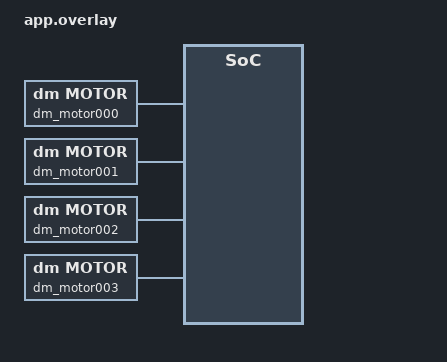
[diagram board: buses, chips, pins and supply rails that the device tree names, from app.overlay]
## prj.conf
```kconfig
# 达妙DM电机控制示例配置

CONFIG_MAIN_THREAD_PRIORITY=7
CONFIG_SYSTEM_WORKQUEUE_STACK_SIZE=4096

# 电机驱动支持
CONFIG_MOTOR=y
CONFIG_MOTOR_DM=y

# ARES USB 控制协议
CONFIG_ARES=y
CONFIG_ARES_COMM_LIB=y
CONFIG_DUAL_PROPOSE_PROTOCOL=y
CONFIG_USB_BULK_INTERFACE=y
CONFIG_NET_BUF=y
CONFIG_UDC_DRIVER_HIGH_SPEED_SUPPORT_ENABLED=n
CONFIG_USBD_MAX_SPEED_FULL=y

# CAN总线支持
CONFIG_CAN=y
CONFIG_CAN_INIT_PRIORITY=80

# PID控制器支持
CONFIG_PID=y

CONFIG_LOG=y
CONFIG_LOG_MODE_DEFERRED=y
CONFIG_LOG_BUFFER_SIZE=4096
CONFIG_CBPRINTF_FP_SUPPORT=y
CONFIG_UART_CONSOLE=y
```

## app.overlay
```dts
&cdc_acm_uart0 {
    status = "disabled";
};

&usart6 {
    status = "disabled";
};

/ {
    dm_motor000: dm_motor000 {
        compatible = "dm,motor";
        id = <1>;
        rx_id = <0x1A>;
        tx_id = <0x0A>;
        v_max = "785";
        p_max = "95.5";
        status = "okay";
        can_channel = <&can1>;
        controllers = <&mit>;
        capabilities = "mit";
        t_max = "5";
        freq = <1000>;
    };
    dm_motor001: dm_motor001 {
        compatible = "dm,motor";
        id = <2>;
        rx_id = <0x1B>;
        tx_id = <0x0B>;
        v_max = "785";
        p_max = "95.5";
        status = "okay";
        can_channel = <&can1>;
        controllers = <&mit>;
        capabilities = "mit";
        t_max = "5";
        freq = <1000>;
    };
    dm_motor002: dm_motor002 {
        compatible = "dm,motor";
        id = <3>;
        rx_id = <0x1C>;
        tx_id = <0x0C>;
        v_max = "785";
        p_max = "95.5";
        status = "okay";
        can_channel = <&can1>;
        controllers = <&mit>;
        capabilities = "mit";
        t_max = "5";
        freq = <1000>;
    };
    dm_motor003: dm_motor003 {
        compatible = "dm,motor";
        id = <4>;
        rx_id = <0x1D>;
        tx_id = <0x0D>;
        v_max = "785";
        p_max = "95.5";
        status = "okay";
        can_channel = <&can1>;
        controllers = <&mit>;
        capabilities = "mit";
        t_max = "5";
        freq = <1000>;
    };

    mit: mit {
        #controller-cells = <0>;
        compatible = "pid,mit";
        k_p = "5";
        k_i = "0.0";
        k_d = "1.5";
        offset = "1.2";
    };
};
```

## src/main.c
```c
#include <errno.h>
#include <stdbool.h>
#include <stdint.h>
#include <string.h>

#include <zephyr/kernel.h>
#include <zephyr/device.h>
#include <zephyr/drivers/can.h>
#include <zephyr/logging/log.h>
#include <zephyr/sys/util.h>
#include <zephyr/drivers/motor.h>
#include <zephyr/drivers/gpio.h>

#include <ares/ares_comm.h>
#include <ares/interface/usb/usb_bulk.h>
#include <ares/protocol/dual/dual_protocol.h>

#include "devices.h"

LOG_MODULE_REGISTER(lift_demo, LOG_LEVEL_INF);

#define CTRL_SYNC_ID 0x0303
#define CTRL_FLOAT_NUM 7
#define CTRL_BUTTON_MASK_NUM 3
#define CTRL_BUTTON_A_ID 3
#define CTRL_BUTTON_Y_ID 6

enum ctrl_data_index {
    CTRL_IDX_BUTTONS_0_15 = 0,
    CTRL_IDX_BUTTONS_16_31,
    CTRL_IDX_BUTTONS_32_47,
    CTRL_IDX_LX,
    CTRL_IDX_LY,
    CTRL_IDX_RX,
    CTRL_IDX_RY,
};

DUAL_PROPOSE_PROTOCOL_DEFINE(control_protocol);
ARES_BULK_INTERFACE_DEFINE(usb_bulk_interface);

static float ctrl_rx[CTRL_FLOAT_NUM];
static float ctrl_data[CTRL_FLOAT_NUM];
static float ctrl_latest[CTRL_FLOAT_NUM];
static uint32_t ctrl_rx_count;

K_SEM_DEFINE(ctrl_rx_sem, 0, 1);

float action[4] = {0.0f, 0.0f, 0.0f, 0.0f};

int rank[4] = {-1, -1, 1, 1};
static const float motor_ff[4] = {0.5f, 1.8f, 0.5f, 1.8f};

const struct device *dm_motor[4];

static uint16_t ctrl_float_to_mask(float value)
{
    if (value <= 0.0f) {
        return 0U;
    }

    if (value >= 65535.0f) {
        return UINT16_MAX;
    }

    return (uint16_t)(value + 0.5f);
}

static bool ctrl_button_pressed(const uint16_t masks[CTRL_BUTTON_MASK_NUM], uint8_t button_id)
{
    return (masks[button_id / 16U] & BIT(button_id % 16U)) != 0U;
}

static void control_rx_cb(int status)
{
    if (status != SYNC_PACK_STATUS_DONE) {
        return;
    }

    memcpy(ctrl_data, ctrl_rx, sizeof(ctrl_data));
    ctrl_rx_count++;
    k_sem_give(&ctrl_rx_sem);
}

void lifthigh(int id, float target_deg)
{
    float torque_ff = 0.0f;

    if (!device_is_ready(dm_motor[id])) {
        LOG_ERR("motor %d not ready!", id);
        return;
    }

    if (target_deg > 0.0f) {
        torque_ff = motor_ff[id];
    } else if (target_deg < 0.0f) {
        torque_ff = -motor_ff[id];
    }

    motor_set_mit(dm_motor[id], 0.0f, target_deg, torque_ff);
}

static void hold_current_target(void)
{
    for (int i = 0; i < 4; i++) {
        lifthigh(i, action[i]);
    }
}

static const float gear_angle_ac[] = {
    0.0f,
    360.0f,
    720.0f,
    1440.0f,
    3600.0f,
    4800.0f,
};

static const float gear_angle_bd[] = {
    0.0f,
    410.0f,
    770.0f,
    1490.0f,
    3650.0f,
    4850.0f,
};

#define MAX_GEAR ARRAY_SIZE(gear_angle_ac)

static int current_gear = 0;
static bool last_a_pressed;
static bool last_y_pressed;

static void apply_current_gear(void)
{
    float target_angle_ac = gear_angle_ac[current_gear];
    float target_angle_bd = gear_angle_bd[current_gear];

    action[0] = target_angle_ac * rank[0];
    action[1] = target_angle_bd * rank[1];
    action[2] = target_angle_ac * rank[2];
    action[3] = target_angle_bd * rank[3];

    for (int i = 0; i < 4; i++) {
        lifthigh(i, action[i]);
    }
}

static void gear_step(int delta)
{
    int prev_gear = current_gear;

    if (delta > 0 && current_gear < MAX_GEAR - 1) {
        current_gear++;
    } else if (delta < 0 && current_gear > 0) {
        current_gear--;
    }

    if (current_gear == prev_gear) {
        LOG_INF("Gear unchanged: %d/%d", current_gear + 1, MAX_GEAR);
        return;
    }

    apply_current_gear();

    if (delta > 0) {
        LOG_INF("Y pressed -> Gear Up: %d/%d, Angle: %.1f deg",
                current_gear + 1, MAX_GEAR, (double)gear_angle_ac[current_gear]);
    } else {
        LOG_INF("A pressed -> Gear Down: %d/%d, Angle: %.1f deg",
                current_gear + 1, MAX_GEAR, (double)gear_angle_ac[current_gear]);
    }
}

void prepare(void)
{
    for (int i = 0; i < 4; i++) {
        if (!device_is_ready(dm_motor[i])) {
            LOG_ERR("motor%d NOT READY!", i);
            continue;
        }

        LOG_INF("motor%d ready", i);

        motor_control(dm_motor[i], ENABLE_MOTOR);
        k_msleep(10);

        motor_set_mode(dm_motor[i], MIT);
        k_msleep(10);

        LOG_INF("motor%d enabled + MIT mode", i);
    }
}

int main(void)
{
    int ret;
    sync_table_t *control_rx;

    k_msleep(200);

    LOG_INF("=== Lift Demo Start ===");

    dm_motor[0] = dm_motor000;
    dm_motor[1] = dm_motor001;
    dm_motor[2] = dm_motor002;
    dm_motor[3] = dm_motor003;

    ret = ares_bind_interface(&usb_bulk_interface, &control_protocol);
    if (ret != 0) {
        LOG_ERR("failed to initialize ARES USB interface: %d", ret);
        return ret;
    }

    control_rx = dual_sync_add(&control_protocol, CTRL_SYNC_ID, (uint8_t *)ctrl_rx,
                               sizeof(ctrl_rx), control_rx_cb);
    if (control_rx == NULL) {
        LOG_ERR("failed to register control sync pack");
        return -ENOMEM;
    }

    LOG_INF("USB control ready: sync=0x%04x, Y=up, A=down", CTRL_SYNC_ID);

    prepare();
    apply_current_gear();
    hold_current_target();

    LOG_INF("Start at gear 1/%d, waiting for USB buttons.", MAX_GEAR);

    while (1) {
        uint16_t masks[CTRL_BUTTON_MASK_NUM];
        bool a_pressed;
        bool y_pressed;

        if (k_sem_take(&ctrl_rx_sem, K_NO_WAIT) == 0) {
            memcpy(ctrl_latest, ctrl_data, sizeof(ctrl_latest));
        }

        masks[0] = ctrl_float_to_mask(ctrl_latest[CTRL_IDX_BUTTONS_0_15]);
        masks[1] = ctrl_float_to_mask(ctrl_latest[CTRL_IDX_BUTTONS_16_31]);
        masks[2] = ctrl_float_to_mask(ctrl_latest[CTRL_IDX_BUTTONS_32_47]);

        a_pressed = ctrl_button_pressed(masks, CTRL_BUTTON_A_ID);
        y_pressed = ctrl_button_pressed(masks, CTRL_BUTTON_Y_ID);

        if (y_pressed && !last_y_pressed) {
            gear_step(1);
        }

        if (a_pressed && !last_a_pressed) {
            gear_step(-1);
        }

        last_a_pressed = a_pressed;
        last_y_pressed = y_pressed;

        hold_current_target();
        k_msleep(5);
    }

    return 0;
}
```

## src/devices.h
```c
#include <zephyr/device.h>

#define DMOTOR_NODE1 DT_NODELABEL(dm_motor000)
#define DMOTOR_NODE2 DT_NODELABEL(dm_motor001)
#define DMOTOR_NODE3 DT_NODELABEL(dm_motor002)
#define DMOTOR_NODE4 DT_NODELABEL(dm_motor003)

const struct device *dm_motor000 = DEVICE_DT_GET(DMOTOR_NODE1);
const struct device *dm_motor001 = DEVICE_DT_GET(DMOTOR_NODE2);
const struct device *dm_motor002 = DEVICE_DT_GET(DMOTOR_NODE3);
const struct device *dm_motor003 = DEVICE_DT_GET(DMOTOR_NODE4);
```
